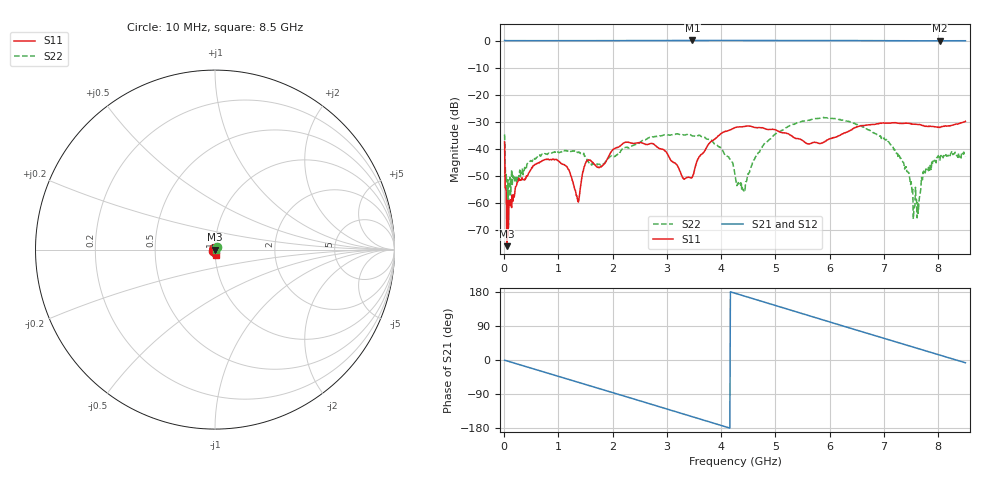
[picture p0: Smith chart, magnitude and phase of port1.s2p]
! RsaToolbox (C) 2015 Rohde & Schwarz America
! Number of points: 850
! Number of ports: 2
! Balanced ports?: No
# Hz S RI R 50
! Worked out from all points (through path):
!   850 points, 10 MHz to 8.5 GHz, reference 50 ohm
!   highest |S21| = 0.06 dB at 3.47 GHz (marker M1); lowest = -0.1 dB at 8.03 GHz (marker M2)
!   group delay of S21, straight-line fit = 120 ps
!   lowest |S11| = -76.0 dB at 50 MHz (marker M3), VSWR 1.00, Z = 50 + j0.0071 ohm
!   |S11| at or under -10 dB: start of sweep to end of sweep
!   |S22| runs from -69.1 to -28.4 dB; largest |S21 - S12| = 0
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1e7  -0.0105 -0.00834  1.004 -0.0109  1.004 -0.0109  0.00874 0.0161
5e7  0.000142 7.1e-05  0.9994 -0.0389  0.9994 -0.0389  0.000827 0.00192
9e7  0.00108 0.000229  0.9971 -0.0683  0.9971 -0.0683  0.00211 -0.00058
2.5e8  0.00172 -0.00173  0.981 -0.1876  0.981 -0.1876  0.00304 0.000789
7.4e8  -0.00444 -0.0044  0.8478 -0.5268  0.8478 -0.5268  0.00782 -0.00108
1.15e9  -0.00391 0.00271  0.6485 -0.7584  0.6485 -0.7584  0.00772 -0.00482
1.35e9  0.000904 0.000788  0.5285 -0.8472  0.5285 -0.8472  0.00526 -0.00677
1.43e9  0.000957 -0.00264  0.4768 -0.8776  0.4768 -0.8776  0.00251 -0.00767
2.22e9  -0.00583 -0.0117  -0.0953 -0.9966  -0.0953 -0.9966  -0.00712 0.00789
2.84e9  -0.0105 -0.000594  -0.5367 -0.8491  -0.5367 -0.8491  -0.00924 0.0143
3.47e9  0.00304 -3.24e-05  -0.8698 -0.5082  -0.8698 -0.5082  -0.00632 0.0161
3.99e9  0.000733 -0.0189  -0.9971 -0.135  -0.9971 -0.135  -0.00158 0.0103
4.26e9  -0.00848 -0.0232  -1.004 0.07  -1.004 0.07  -0.00116 0.00282
4.42e9  -0.0138 -0.0218  -0.9874 0.1908  -0.9874 0.1908  -0.00162 0.000339
4.8e9  -0.0204 -0.0122  -0.8918 0.4635  -0.8918 0.4635  -0.00372 -0.0119
5.67e9  -0.0128 3.99e-05  -0.4204 0.9116  -0.4204 0.9116  -0.00997 -0.0336
7.09e9  -0.0239 0.0178  0.6 0.7978  0.6 0.7978  -0.00596 -0.0119
7.43e9  -0.00593 0.029  0.7808 0.6175  0.7808 0.6175  -0.00146 -0.00348
7.58e9  0.00529 0.0279  0.8435 0.5259  0.8435 0.5259  0.00102 -0.00165
7.76e9  0.0154 0.0208  0.9049 0.4074  0.9049 0.4074  0.00333 0.0013
8.03e9  0.0247 8.94e-05  0.967 0.2185  0.967 0.2185  0.00614 0.000562
8.5e9  0.00338 -0.032  0.9874 -0.1256  0.9874 -0.1256  0.00612 -0.00369
